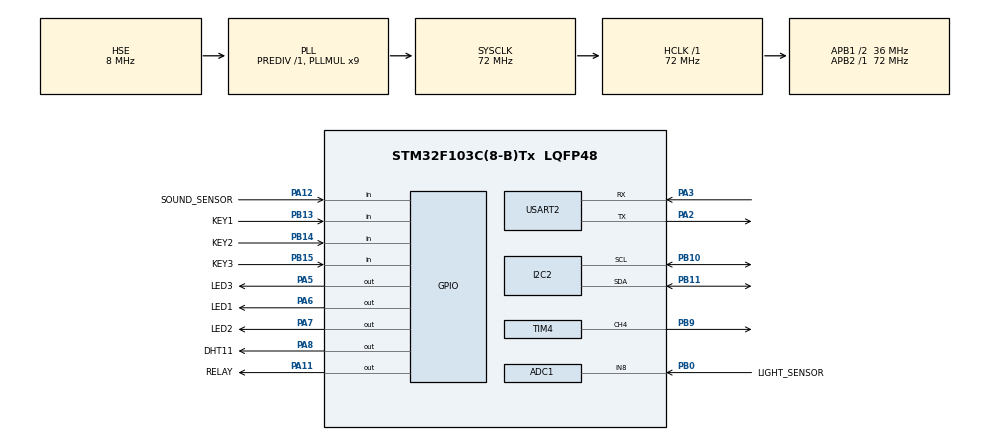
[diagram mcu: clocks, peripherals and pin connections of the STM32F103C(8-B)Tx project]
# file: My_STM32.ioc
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ADC1.Channel-10\#ChannelRegularConversion=ADC_CHANNEL_8
ADC1.NbrOfConversionFlag=1
ADC1.Rank-10\#ChannelRegularConversion=1
ADC1.SamplingTime-10\#ChannelRegularConversion=ADC_SAMPLETIME_1CYCLE_5
ADC1.master=1
Dma.Request0=USART2_RX
Dma.Request1=USART2_TX
Dma.USART2_RX.0.Direction=DMA_PERIPH_TO_MEMORY
Dma.USART2_RX.0.Instance=DMA1_Channel6
Dma.USART2_RX.0.MemDataAlignment=DMA_MDATAALIGN_BYTE
Dma.USART2_RX.0.MemInc=DMA_MINC_ENABLE
Dma.USART2_RX.0.Mode=DMA_CIRCULAR
Dma.USART2_RX.0.PeriphDataAlignment=DMA_PDATAALIGN_BYTE
Dma.USART2_RX.0.PeriphInc=DMA_PINC_DISABLE
Dma.USART2_RX.0.Priority=DMA_PRIORITY_LOW
Dma.USART2_TX.1.Direction=DMA_MEMORY_TO_PERIPH
Dma.USART2_TX.1.Instance=DMA1_Channel7
Dma.USART2_TX.1.MemDataAlignment=DMA_MDATAALIGN_BYTE
Dma.USART2_TX.1.MemInc=DMA_MINC_ENABLE
Dma.USART2_TX.1.Mode=DMA_NORMAL
Dma.USART2_TX.1.PeriphDataAlignment=DMA_PDATAALIGN_BYTE
Dma.USART2_TX.1.PeriphInc=DMA_PINC_DISABLE
Dma.USART2_TX.1.Priority=DMA_PRIORITY_LOW
Mcu.Family=STM32F1
Mcu.Name=STM32F103C(8-B)Tx
Mcu.Package=LQFP48
NVIC.DMA1_Channel6_IRQn=true\:0\:0\:false\:false\:true\:false\:true\:true
NVIC.DMA1_Channel7_IRQn=true\:0\:0\:false\:false\:true\:false\:true\:true
NVIC.PriorityGroup=NVIC_PRIORITYGROUP_4
NVIC.USART2_IRQn=true\:0\:0\:false\:false\:true\:true\:true\:true
PA11.GPIO_Label=RELAY
PA11.Signal=GPIO_Output
PA12.GPIO_Label=SOUND_SENSOR
PA12.Signal=GPIO_Input
PA13.Mode=Serial_Wire
PA13.Signal=SYS_JTMS-SWDIO
PA14.Mode=Serial_Wire
PA14.Signal=SYS_JTCK-SWCLK
PA2.Mode=Asynchronous
PA2.Signal=USART2_TX
PA3.Mode=Asynchronous
PA3.Signal=USART2_RX
PA5.GPIO_Label=LED3
PA5.PinState=GPIO_PIN_RESET
PA5.Signal=GPIO_Output
PA6.GPIO_Label=LED1
PA6.PinState=GPIO_PIN_RESET
PA6.Signal=GPIO_Output
PA7.GPIO_Label=LED2
PA7.PinState=GPIO_PIN_RESET
PA7.Signal=GPIO_Output
PA8.GPIO_Label=DHT11
PA8.Signal=GPIO_Output
PB0.GPIO_Label=LIGHT_SENSOR
PB0.Signal=ADCx_IN8
PB10.Mode=I2C
PB10.Signal=I2C2_SCL
PB11.Mode=I2C
PB11.Signal=I2C2_SDA
PB13.GPIO_Label=KEY1
PB13.GPIO_PuPd=GPIO_PULLUP
PB13.Signal=GPIO_Input
PB14.GPIO_Label=KEY2
PB14.GPIO_PuPd=GPIO_PULLDOWN
PB14.Signal=GPIO_Input
PB15.GPIO_Label=KEY3
PB15.Signal=GPIO_Input
PB9.Signal=S_TIM4_CH4
PD0-OSC_IN.Mode=HSE-External-Oscillator
PD0-OSC_IN.Signal=RCC_OSC_IN
PD1-OSC_OUT.Mode=HSE-External-Oscillator
PD1-OSC_OUT.Signal=RCC_OSC_OUT
ProjectManager.HeapSize=0x200
ProjectManager.StackSize=0x400
ProjectManager.TargetToolchain=MDK-ARM V5.32
RCC.ADCPresc=RCC_ADCPCLK2_DIV6
RCC.AHBFreq_Value=72000000
RCC.APB1CLKDivider=RCC_HCLK_DIV2
RCC.APB1Freq_Value=36000000
RCC.APB1TimFreq_Value=72000000
RCC.APB2Freq_Value=72000000
RCC.APB2TimFreq_Value=72000000
RCC.HCLKFreq_Value=72000000
RCC.PLLMUL=RCC_PLL_MUL9
RCC.PLLSourceVirtual=RCC_PLLSOURCE_HSE
RCC.SYSCLKFreq_VALUE=72000000
RCC.SYSCLKSource=RCC_SYSCLKSOURCE_PLLCLK
RCC.USBFreq_Value=72000000
SH.ADCx_IN8.0=ADC1_IN8,IN8
SH.S_TIM4_CH4.0=TIM4_CH4,PWM Generation4 CH4
TIM4.Channel-PWM\ Generation4\ CH4=TIM_CHANNEL_4
TIM4.Period=1000
TIM4.Prescaler=71
TIM4.Pulse-PWM\ Generation4\ CH4=500
USART2.VirtualMode=VM_ASYNC
board=custom

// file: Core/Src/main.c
/* USER CODE BEGIN Header */
/**
 ******************************************************************************
 * @file           : main.c
 * @brief          : Main program body
 ******************************************************************************
 */
/* USER CODE END Header */
#include "main.h"
#include "adc.h"
#include "dma.h"
#include "i2c.h"
#include "tim.h"
#include "usart.h"
#include "gpio.h"

/* USER CODE BEGIN Includes */
#include "sht3x.h"
#include <stdio.h>
#include <string.h>
#include "light_sensor.h"
/* USER CODE END Includes */

/* USER CODE BEGIN PD */
#define DEV_ID "hyt00001"
extern uint8_t rx_data[1]; // 【新增这行】声明外部变量

// WiFi 账号密码宏定义
#define WIFI_SSID "hyt00001"
#define WIFI_PASS "0d000721"
/* USER CODE END PD */

void SystemClock_Config(void);

int main(void)
{

  /* MCU Configuration--------------------------------------------------------*/

  /* Reset of all peripherals, Initializes the Flash interface and the Systick. */
  HAL_Init();

  /* Configure the system clock */
  SystemClock_Config();

  /* Initialize all configured peripherals */
  MX_GPIO_Init();
  MX_DMA_Init();
  MX_ADC1_Init();
  MX_USART2_UART_Init();
  MX_TIM4_Init();
  MX_I2C2_Init();

  /* USER CODE BEGIN 2 */
  // 强制在初始化时关闭所有 LED
  HAL_GPIO_WritePin(LED2_GPIO_Port, LED2_Pin | LED3_Pin, GPIO_PIN_SET); // 2、3 拉高熄灭
  HAL_GPIO_WritePin(LED1_GPIO_Port, LED1_Pin, GPIO_PIN_RESET);

  HAL_ADCEx_Calibration_Start(&hadc1);
  __HAL_TIM_SET_COMPARE(&htim4, TIM_CHANNEL_4, 500);
  SHT3X_Init();
  Light_Init();

  // --- 第一阶段：初始化 ESP8266 ---
  uint8_t at_cmd[] = "AT\r\n";
  HAL_UART_Transmit(&huart2, at_cmd, strlen((char *)at_cmd), 1000);
  HAL_Delay(1000);

  uint8_t cwmode_cmd[] = "AT+CWMODE=1\r\n";
  HAL_UART_Transmit(&huart2, cwmode_cmd, strlen((char *)cwmode_cmd), 1000);
  HAL_Delay(1000);

  // 使用宏定义拼接 AT+CWJAP 指令
  char cwjap_cmd[100]; // 准备一个足够大的缓冲区
  snprintf(cwjap_cmd, sizeof(cwjap_cmd), "AT+CWJAP=\"%s\",\"%s\"\r\n", WIFI_SSID, WIFI_PASS);
  HAL_UART_Transmit(&huart2, (uint8_t *)cwjap_cmd, strlen(cwjap_cmd), 1000);
  HAL_Delay(8000);

  uint8_t cipstart_cmd[] = "AT+CIPSTART=\"TCP\",\"sspeace.top\",9413\r\n";
  HAL_UART_Transmit(&huart2, cipstart_cmd, strlen((char *)cipstart_cmd), 1000);
  HAL_Delay(3000);

  uint8_t cipmode_cmd[] = "AT+CIPMODE=1\r\n";
  HAL_UART_Transmit(&huart2, cipmode_cmd, strlen((char *)cipmode_cmd), 1000);
  HAL_Delay(500);

  uint8_t cipsend_cmd[] = "AT+CIPSEND\r\n";
  HAL_UART_Transmit(&huart2, cipsend_cmd, strlen((char *)cipsend_cmd), 1000);
  HAL_Delay(500);

  // --- 第二阶段：进入透传后，开启 DMA 接收指令 ---
  HAL_UART_Receive_DMA(&huart2, rx_data, 1);
  /* USER CODE END 2 */

  /* Infinite loop */
  /* USER CODE BEGIN WHILE */
  float temp, humi;
  uint8_t sound_data;
  uint16_t light_data;
  char upload_data[100];

  while (1)
  {
    if (!SHT3X_Get(&temp, &humi))
    {
      snprintf(upload_data, sizeof(upload_data), "%s/sensor/sht30 %.2f_%.2f\n", DEV_ID, temp, humi);
      HAL_UART_Transmit(&huart2, (uint8_t *)upload_data, strlen(upload_data), 1000);
    }

    sound_data = HAL_GPIO_ReadPin(SOUND_SENSOR_GPIO_Port, SOUND_SENSOR_Pin);
    snprintf(upload_data, sizeof(upload_data), "%s/sensor/sound %u\n", DEV_ID, sound_data);
    HAL_UART_Transmit(&huart2, (uint8_t *)upload_data, strlen(upload_data), 1000);

    light_data = Light_Get(1);
    snprintf(upload_data, sizeof(upload_data), "%s/sensor/light %u\n", DEV_ID, light_data);
    HAL_UART_Transmit(&huart2, (uint8_t *)upload_data, strlen(upload_data), 1000);

    HAL_Delay(2000);
    /* USER CODE END WHILE */

  }
}

void SystemClock_Config(void)
{
  RCC_OscInitTypeDef RCC_OscInitStruct = {0};
  RCC_ClkInitTypeDef RCC_ClkInitStruct = {0};
  RCC_PeriphCLKInitTypeDef PeriphClkInit = {0};

  /** Initializes the RCC Oscillators according to the specified parameters
  * in the RCC_OscInitTypeDef structure.
  */
  RCC_OscInitStruct.OscillatorType = RCC_OSCILLATORTYPE_HSE;
  RCC_OscInitStruct.HSEState = RCC_HSE_ON;
  RCC_OscInitStruct.HSEPredivValue = RCC_HSE_PREDIV_DIV1;
  RCC_OscInitStruct.HSIState = RCC_HSI_ON;
  RCC_OscInitStruct.PLL.PLLState = RCC_PLL_ON;
  RCC_OscInitStruct.PLL.PLLSource = RCC_PLLSOURCE_HSE;
  RCC_OscInitStruct.PLL.PLLMUL = RCC_PLL_MUL9;
  if (HAL_RCC_OscConfig(&RCC_OscInitStruct) != HAL_OK)
  {
    Error_Handler();
  }

  /** Initializes the CPU, AHB and APB buses clocks
  */
  RCC_ClkInitStruct.ClockType = RCC_CLOCKTYPE_HCLK|RCC_CLOCKTYPE_SYSCLK
                              |RCC_CLOCKTYPE_PCLK1|RCC_CLOCKTYPE_PCLK2;
  RCC_ClkInitStruct.SYSCLKSource = RCC_SYSCLKSOURCE_PLLCLK;
  RCC_ClkInitStruct.AHBCLKDivider = RCC_SYSCLK_DIV1;
  RCC_ClkInitStruct.APB1CLKDivider = RCC_HCLK_DIV2;
  RCC_ClkInitStruct.APB2CLKDivider = RCC_HCLK_DIV1;

  if (HAL_RCC_ClockConfig(&RCC_ClkInitStruct, FLASH_LATENCY_2) != HAL_OK)
  {
    Error_Handler();
  }
  PeriphClkInit.PeriphClockSelection = RCC_PERIPHCLK_ADC;
  PeriphClkInit.AdcClockSelection = RCC_ADCPCLK2_DIV6;
  if (HAL_RCCEx_PeriphCLKConfig(&PeriphClkInit) != HAL_OK)
  {
    Error_Handler();
  }
}

void Error_Handler(void)
{
  __disable_irq();
  while (1)
  {
  }
}
